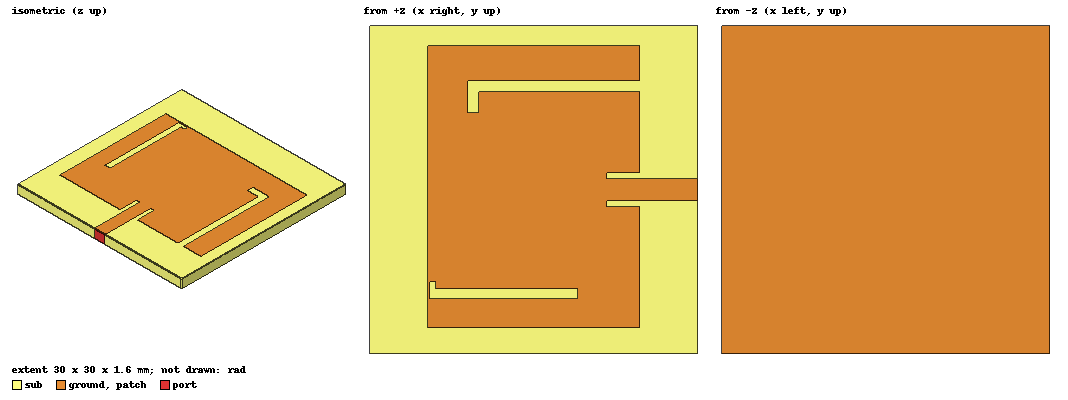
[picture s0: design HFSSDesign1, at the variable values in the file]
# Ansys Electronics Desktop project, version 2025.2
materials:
  vacuum: permittivity=1
  FR4_epoxy: permittivity=4.4 dielectric_loss_tangent=0.02
  air: permittivity=1.0006 permeability=1.0000004

design HFSSDesign1 (HFSS, HFSS Terminal Network, model units mm)
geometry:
  ground = rectangle(corner=(0mm, 0mm, 0mm), x_size=30mm, y_size=30mm)
  sub [FR4_epoxy] = box(corner=(0mm, 0mm, 0mm), size=(30mm, 30mm, 1.6mm))
  patch = rectangle(corner=(5.295mm, 2.4mm, 1.6mm), x_size=19.41mm, y_size=25.8mm)
  port = rectangle(corner=(30mm, 14mm, 1.6mm), y_size=2mm, z_size=-1.6mm)
  rad [air] = box(corner=(-20mm, -20mm, -30mm), size=(60mm, 110mm, 60mm))
  Rectangle1 = rectangle(corner=(30mm, 14mm, 1.6mm), x_size=-14mm, y_size=2mm)
  patch.unite(Rectangle1)
  Rectangle2 = rectangle(corner=(24.705mm, 14mm, 1.6mm), x_size=-3mm, y_size=-0.6mm)
  Rectangle3 = rectangle(corner=(24.705mm, 16mm, 1.6mm), x_size=-3mm, y_size=0.6mm)
  patch.subtract(Rectangle2, Rectangle3)
  Rectangle4 = rectangle(corner=(9mm, 25mm, 1.6mm), x_size=15.7mm, y_size=-1mm)
  patch.subtract(Rectangle4)
  Rectangle5 = rectangle(corner=(19mm, 5mm, 1.6mm), x_size=-13.5mm, y_size=0.9mm)
  patch.subtract(Rectangle5)
  Rectangle6 = rectangle(corner=(9mm, 25mm, 1.6mm), x_size=1mm, y_size=-3mm)
  patch.subtract(Rectangle6)
  Rectangle7 = rectangle(corner=(5.5mm, 5mm, 1.6mm), x_size=0.51mm, y_size=1.58mm)
  patch.subtract(Rectangle7)
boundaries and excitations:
  PerfE1: Perfect E Objects=[ground, patch]
  Rad1: Radiation Objects=rad
  1: Lumped Port Objects=port LumpedPortType=Modal Modes{Mode1{IntLine{(30, 15, 0) -> (30, 15, 1.6)} CharImp=Zpi}} Impedance=50ohm
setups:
  Setup1: HfssDriven Frequency=3.6GHz MaxDeltaS=0.02 MaximumPasses=20 MinimumPasses=1 MinimumConvergedPasses=1 PercentRefinement=30 BasisOrder=1 Target=0.5 PortAccuracy=2 DrivenSolverType="Direct Solver"
    sweep Sweep: 1GHz to 6GHz step 0.01GHz; Type=Fast SaveFields
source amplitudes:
  1:1: 1V 0deg
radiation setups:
  Infinite Sphere1: Infinite Sphere Theta=0deg..360deg step 10deg Phi=0deg..360deg step 10deg
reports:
  Gain Plot 1: dB(GainTotal) vs Theta on Setup1 : Sweep, Infinite Sphere1 [Phi=all Freq=3.6GHz]; markers m1 at 360deg
  S Parameter Plot 1: dB(S(1,1)) vs Freq on Setup1 : Sweep; markers m1 at 3.6GHz
  rE Plot 1: dB(rETotal) vs Phi, Theta on Setup1 : LastAdaptive, Infinite Sphere1 [Freq=3.6GHz]
